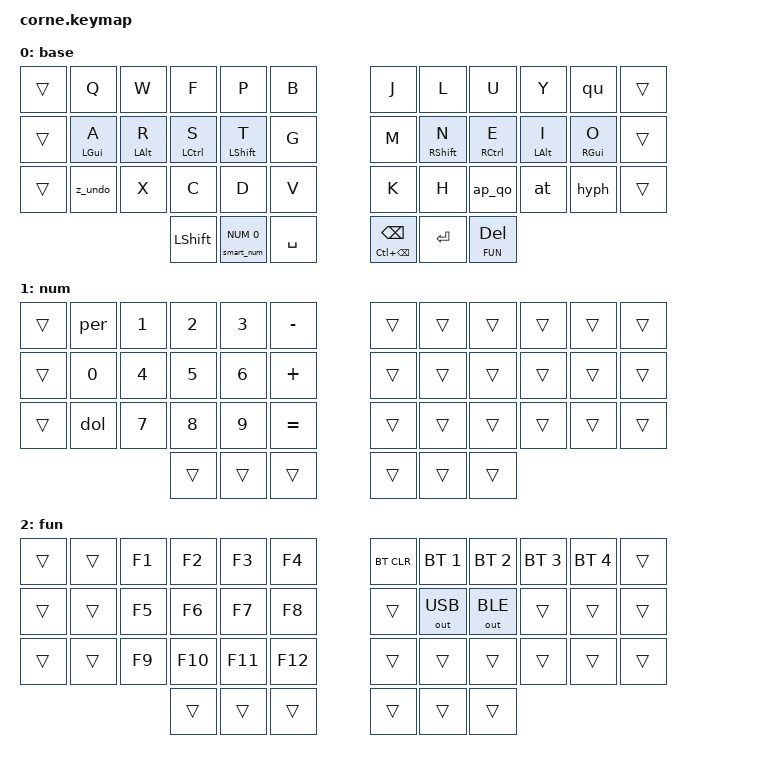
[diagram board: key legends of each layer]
#include <behaviors.dtsi>
#include <dt-bindings/zmk/keys.h>
#include <dt-bindings/zmk/bt.h>
#include <dt-bindings/zmk/outputs.h>

#include "../zmk-nodefree-config/helper.h"
#include "../zmk-nodefree-config/international_chars/german.dtsi"
#include "../zmk-nodefree-config/keypos_def/keypos_42keys.h"

/* layer and key shortcuts */

#define ___ &trans

#define DEF 0  // layer shortcuts, must match order in which they are defined below
#define NUM 1
#define FUN 2

/* custom behaviors */

// homerow mods
ZMK_BEHAVIOR(hrm, hold_tap,
    flavor = "balanced";
    tapping-term-ms = <280>;
    quick-tap-ms = <125>;
    bindings = <&kp>, <&kp>;
)

// tap: sticky shift | double tap: capsword
ZMK_BEHAVIOR(ss_cw, tap_dance,
    tapping-term-ms = <200>;
    bindings = <&sk LSHFT>, <&caps_word>;
)

// tap: backspace | shift + tap: delete | hold: num layer
ZMK_BEHAVIOR(bs_del_num, mod_morph,
    bindings = <&lt NUM BSPC>, <&kp DEL>;
    mods = <(MOD_LSFT|MOD_RSFT)>;
)

// windows sleep macro
ZMK_BEHAVIOR(win_sleep, macro,
    wait-ms = <100>;
    tap-ms = <5>;
    bindings = <&kp LG(X) &kp U &kp S>;
)

/* Global settings */

#define QUICK_TAP_MS 175

&sk {  // sticky-key config
    release-after-ms = <900>;  // release after 0.6s
    quick-release;             // no double capitalization when rolling keys
};

&sl {  // sticky-layer config
    ignore-modifiers;          // allow chording sticky mods & layers
};

&lt {  // layer-tap config
    flavor = "balanced";
    tapping-term-ms = <200>;
    quick-tap-ms = <QUICK_TAP_MS>;
};


/* Nav cluster */

// long-tap action on hold, short-tap action on all interrupts
#define MT_CORE \
    flavor = "tap-preferred"; \
    tapping-term-ms = <220>; \
    quick-tap-ms = <220>; \
    hold-trigger-key-positions = <0>;

&mt { MT_CORE };
ZMK_BEHAVIOR(mt_home, hold_tap, bindings = <&masked_home>, <&kp>; MT_CORE)
ZMK_BEHAVIOR(mt_end,  hold_tap,  bindings = <&masked_end>, <&kp>; MT_CORE)

#define NAV_LEFT  &mt_home 0   LEFT    // tap: left  | long-tap: beginning of line
#define NAV_RIGHT &mt_end 0    RIGHT   // tap: right | long-tap: end       of line
#define NAV_UP    &mt LC(HOME) UP      // tap: up    | long-tap: beginning of document
#define NAV_DOWN  &mt LC(END)  DOWN    // tap: down  | long-tap: end       of document
#define NAV_BSPC  &mt LC(BSPC) BSPC    // tap: bspc  | long-tap: delete word backward
#define NAV_DEL   &mt LC(DEL)  DEL     // tap: del   | long-tap: delete word forward

// mask CTRL when holding left/right to avoid accidental jumps to beginning/end of document
#define MASK_MODS(NAME, MODS, BINDING) \
    ZMK_BEHAVIOR(NAME, mod_morph, \
        bindings = <BINDING>, <BINDING>; \
        mods = <MODS>; \
    )
MASK_MODS(masked_home, (MOD_LCTL), &kp HOME)
MASK_MODS(masked_end,  (MOD_LCTL), &kp END)

// combos
/*                KEY POSITIONS

  ╭──────────────────╮  ╭──────────────────╮
  │ LT5 LT4 LT3 LT2 LT1 LT0 │ │ RT0 RT1 RT2 RT3 RT4 RT5 │
  │ LM5 LM4 LM3 LM2 LM1 LM0 │ │ RM0 RM1 RM2 RM3 RM4 RM5 │
  │ LB5 LB4 LB3 LB2 LB1 LB0 │ │ RB0 RB1 RB2 RB3 RB4 RB5 │
  ╰────────╮ LH2 LH1 LH0 │ │ RH0 RH1 RH2 ╭────────╯#
               ╰─────────╯ ╰─────────╯ */
          
#undef COMBO_TERM
#define COMBO_TERM 40  // timeout of 40ms (default is 30ms if omitted)
ZMK_COMBO(enter, &kp ENTER, LM0 LM1, ALL)
ZMK_COMBO(Save, &kp LC(S), LH1 LH0, ALL)
ZMK_COMBO(Capsword, &ss_cw, LT2 LT3, ALL)
ZMK_COMBO(esc, &kp ESC, LT1 LT2, ALL)
ZMK_COMBO(semicolon, &kp SEMICOLON, RT1 RT2, ALL)
ZMK_COMBO(colon, &kp COLON, RT1 RT2 RT3, ALL)
ZMK_COMBO(dot, &kp DOT, RM1 RM2, ALL)
ZMK_COMBO(comma, &kp COMMA, RM1 RM2 RM3, ALL)
ZMK_COMBO(par, &par, RB1 RB2, ALL)
ZMK_COMBO(bracket, &br, RB1 RB2 RB3, ALL)
ZMK_COMBO(slash, &sla, LB1 LB2, ALL)
ZMK_COMBO(undo, &kp LC(Z), LB3 LB4, ALL)
ZMK_COMBO(copy, &kp LC(C), LM1 LB1, ALL)
ZMK_COMBO(cut, &kp LC(X), LM1 LT1, ALL)
ZMK_COMBO(paste, &kp LC(V), LM0 LB0, ALL)
ZMK_COMBO(up, NAV_UP, LT2 LM2, ALL)
ZMK_COMBO(down, NAV_DOWN, LM2 LB2, ALL)
ZMK_COMBO(right, NAV_RIGHT, LM1 LM2, ALL)
ZMK_COMBO(left, NAV_LEFT, LM2 LM3, ALL)
ZMK_COMBO(pgup, &kp PAGE_UP, LT3 LM3, ALL)
ZMK_COMBO(pgdown, &kp PAGE_DOWN, LB3 LM3, ALL)
ZMK_COMBO(zoomin, &kp LC(EQUAL), LT4 LM4, ALL)
ZMK_COMBO(zoomout, &kp LC(MINUS), LM4 LB4, ALL)
ZMK_COMBO(tab, &kp TAB, LB1 LB0, ALL)
ZMK_COMBO(mult, &kp STAR, LT0 LM0, ALL)
ZMK_COMBO(hash, &kp HASH, LT1 LT0, ALL)
ZMK_COMBO(back, NAV_BSPC, LM1 LH0, ALL)
ZMK_COMBO(del, NAV_DEL, LB1 LH2, ALL)

// Steno Macros

ZMK_BEHAVIOR(m_the, macro,
      wait-ms = <0>;
      tap-ms = <10>;
      bindings = <&kp T &kp H &kp E &kp SPACE>;
)

ZMK_COMBO(THE, &m_the, LM1 LH0, ALL)

ZMK_BEHAVIOR(m_and, macro,
      wait-ms = <0>;
      tap-ms = <10>;
      bindings = <&kp A &kp N &kp D &kp SPACE>;
)

ZMK_COMBO(AND, &m_and, LM4 LH0, ALL)

ZMK_BEHAVIOR(m_you, macro,
      wait-ms = <0>;
      tap-ms = <10>;
      bindings = <&kp Y &kp O &kp U &kp SPACE>;
)

ZMK_COMBO(YOU, &m_you, LH0 RT3, ALL)

ZMK_BEHAVIOR(m_that, macro,
      wait-ms = <0>;
      tap-ms = <10>;
      bindings = <&kp T &kp H &kp A &kp T &kp SPACE>;
)

ZMK_COMBO(THAT, &m_that, LM1 RB1 LH0, ALL)

ZMK_BEHAVIOR(m_was, macro,
      wait-ms = <0>;
      tap-ms = <10>;
      bindings = <&kp W &kp A &kp S &kp SPACE>;
)

ZMK_COMBO(WAS, &m_was, LH0 LT3, ALL)

ZMK_BEHAVIOR(m_for, macro,
      wait-ms = <0>;
      tap-ms = <10>;
      bindings = <&kp F &kp O &kp R &kp SPACE>;
)

ZMK_COMBO(FOR, &m_for, LH0 LT2, ALL)

ZMK_BEHAVIOR(m_are, macro,
      wait-ms = <0>;
      tap-ms = <10>;
      bindings = <&kp A &kp R &kp E &kp SPACE>;
)

ZMK_COMBO(ARE, &m_are, LH0 LM3 LM4, ALL)

ZMK_BEHAVIOR(m_with, macro,
      wait-ms = <0>;
      tap-ms = <10>;
      bindings = <&kp W &kp I &kp T &kp H &kp SPACE>;
)

ZMK_COMBO(WITH, &m_with, LH0 LT3 RM3, ALL)

ZMK_BEHAVIOR(m_grave, macro,
      wait-ms = <0>;
      tap-ms = <10>;
      bindings = <&kp GRAVE &kp GRAVE &kp GRAVE>;
)

// Tap dance

ZMK_BEHAVIOR(qu, tap_dance,
    tapping-term-ms = <300>;
    bindings = <&kp QUESTION>, <&kp EXCLAMATION>;
)

ZMK_BEHAVIOR(z_undo, tap_dance,
    tapping-term-ms = <200>;
    bindings = <&kp Z>, <&kp LC(Z)>;
)

ZMK_BEHAVIOR(ap_qo, tap_dance,
    tapping-term-ms = <200>;
    bindings = <&kp APOSTROPHE>, <&kp GRAVE>, <&m_grave>;
)

ZMK_BEHAVIOR(at, tap_dance,
    tapping-term-ms = <200>;
    bindings = <&kp AT_SIGN>, <&kp AMPERSAND>;
)

ZMK_BEHAVIOR(sla, tap_dance,
    tapping-term-ms = <200>;
    bindings = <&kp SLASH>, <&kp BACKSLASH>;
)

ZMK_BEHAVIOR(par, tap_dance,
    tapping-term-ms = <200>;
    bindings = <&kp LPAR>, <&kp RPAR>;
)

ZMK_BEHAVIOR(br, tap_dance,
    tapping-term-ms = <200>;
    bindings = <&kp LEFT_BRACKET>, <&kp RIGHT_BRACKET>;
)

ZMK_BEHAVIOR(hyph, tap_dance,
    tapping-term-ms = <200>;
    bindings = <&kp MINUS>, <&kp UNDERSCORE>, <&kp TILDE>;
)

ZMK_BEHAVIOR(dol, tap_dance,
    tapping-term-ms = <400>;
    bindings = <&kp CARET>, <&kp DOLLAR>, <&kp PIPE>;
)

ZMK_BEHAVIOR(per, tap_dance,
    tapping-term-ms = <400>;
    bindings = <&kp PIPE>, <&kp PERCENT>;
)

/* Caps-word, num-word and smart-mouse */

// tap: sticky-shift | shift + tap/ double-tap: caps-word | hold: shift
ZMK_BEHAVIOR(smart_shft, mod_morph,
    bindings = <&sk LSHFT>, <&caps_word>;
    mods = <(MOD_LSFT)>;
)
&caps_word {  // mods deactivate caps-word, requires PR #1451
    /delete-property/ ignore-modifiers;
};

// tap: num-word | double-tap: sticky num-layer | hold: num-layer
#define SMART_NUM &smart_num NUM 0
ZMK_BEHAVIOR(smart_num, hold_tap,
    flavor = "balanced";
    tapping-term-ms = <200>;
    quick-tap-ms = <QUICK_TAP_MS>;
    bindings = <&mo>, <&num_dance>;
)
ZMK_BEHAVIOR(num_dance, tap_dance,
    tapping-term-ms = <200>;
    bindings = <&num_word>, <&sl NUM>;  // reverse this for sticky-num on single tap
)
&num_word {  // num-word, requires PR #1451
    layers = <NUM>;
    continue-list = <BSPC DEL DOT COMMA PLUS MINUS STAR FSLH EQUAL UP DOWN RIGHT LEFT SEMICOLON COLON SPACE>;
};



/* keymap */

ZMK_LAYER(base,
// 	    ╭────────────────────────┬────────────────────────┬────────────────────────┬────────────────────────┬────────────────────────╮    ╭────────────────────────┬────────────────────────┬────────────────────────┬───────────────────────┬────────────────────────╮
    ___	      &kp Q                    &kp W                    &kp F                    &kp P                    &kp B                         &kp J                    &kp L                    &kp U                    &kp Y                    &qu                    ___
//	    ├────────────────────────┼────────────────────────┼────────────────────────┼────────────────────────┼────────────────────────┤    ├────────────────────────┼────────────────────────┼────────────────────────┼───────────────────────┼────────────────────────┤
    ___	      &hrm LGUI A              &hrm LALT R              &hrm LCTRL S             &hrm LSHFT T             &kp G                         &kp M                    &hrm RSHFT N             &hrm RCTRL E             &hrm LALT I              &hrm RGUI O            ___
//    	├────────────────────────┼────────────────────────┼────────────────────────┼────────────────────────┼────────────────────────┤    ├────────────────────────┼────────────────────────┼────────────────────────┼───────────────────────┼────────────────────────┤
    ___       &z_undo                  &kp X                    &kp C                    &kp D                    &kp V                         &kp K                    &kp H                    &ap_qo                   &at                      &hyph                  ___
// 	    ╰────────────────────────┴────────────────────────┴────────────────────────┴────────────────────────┼────────────────────────┤    ├────────────────────────┼────────────────────────┼────────────────────────┴───────────────────────┴────────────────────────╯
                                                        	    &kp LSHFT                SMART_NUM                &kp SPACE                     NAV_BSPC                 &kp ENTER                &lt FUN DEL
//                                             	          ╰────────────────────────┴────────────────────────┴────────────────────────╯    ╰────────────────────────┴────────────────────────┴────────────────────────╯
)

ZMK_LAYER(num,
// 	   ╭────────────────────────┬────────────────────────┬────────────────────────┬────────────────────────┬────────────────────────╮    ╭────────────────────────┬────────────────────────┬────────────────────────┬───────────────────────┬────────────────────────╮
   ___       &per                      &kp N1                   &kp N2                  &kp N3                   &kp MINUS                     ___                       ___                      ___                     ___                     ___                      ___
//     ├────────────────────────┼────────────────────────┼────────────────────────┼────────────────────────┼────────────────────────┤    ├────────────────────────┼────────────────────────┼────────────────────────┼───────────────────────┼────────────────────────┤
   ___       &kp N0                    &kp N4                   &kp N5                  &kp N6                   &kp PLUS                      ___                       ___                      ___                     ___                     ___                      ___
// 	   ├────────────────────────┼────────────────────────┼────────────────────────┼────────────────────────┼────────────────────────┤    ├────────────────────────┼────────────────────────┼────────────────────────┼───────────────────────┼────────────────────────┤
   ___       &dol                      &kp N7                   &kp N8                  &kp N9                   &kp EQUAL                     ___                       ___                      ___                     ___                     ___                      ___
// 	   ╰────────────────────────┴────────────────────────┴────────────────────────┼────────────────────────┼────────────────────────┤    ├────────────────────────┼────────────────────────┼────────────────────────┴───────────────────────┴────────────────────────╯
                                                               ___                      ___                      ___                           ___                       ___                      ___ 
//                                                       ╰────────────────────────┴────────────────────────┴────────────────────────╯    ╰────────────────────────┴────────────────────────┴────────────────────────╯
)

ZMK_LAYER(fun,            
//	    ╭────────────────────────┬────────────────────────┬────────────────────────┬────────────────────────┬────────────────────────╮    ╭────────────────────────┬────────────────────────┬────────────────────────┬───────────────────────┬────────────────────────╮
    ___      ___                       &kp F1                   &kp F2                  &kp F3                   &kp F4                        &bt BT_CLR                &bt BT_SEL 1             &bt BT_SEL 2             &bt BT_SEL 3            &bt BT_SEL 4            ___
//	    ├────────────────────────┼────────────────────────┼────────────────────────┼────────────────────────┼────────────────────────┤    ├────────────────────────┼────────────────────────┼────────────────────────┼───────────────────────┼────────────────────────┤
    ___      ___                       &kp F5                   &kp F6                  &kp F7                   &kp F8                        ___                       &out OUT_USB             &out OUT_BLE             ___                     ___                     ___
//	    ├────────────────────────┼────────────────────────┼────────────────────────┼────────────────────────┼────────────────────────┤    ├────────────────────────┼────────────────────────┼────────────────────────┼───────────────────────┼────────────────────────┤
    ___      ___                       &kp F9                   &kp F10                 &kp F11                  &kp F12                       ___                       ___                      ___                      ___                     ___                     ___
//	    ╰────────────────────────┴────────────────────────┴────────────────────────┼────────────────────────┼────────────────────────┤    ├────────────────────────┼────────────────────────┼────────────────────────┴───────────────────────┴────────────────────────╯
                                                                ___                      ___                      ___                           ___                       ___                      ___ 
//                                             	          ╰────────────────────────┴────────────────────────┴────────────────────────╯    ╰────────────────────────┴────────────────────────┴────────────────────────╯
)
